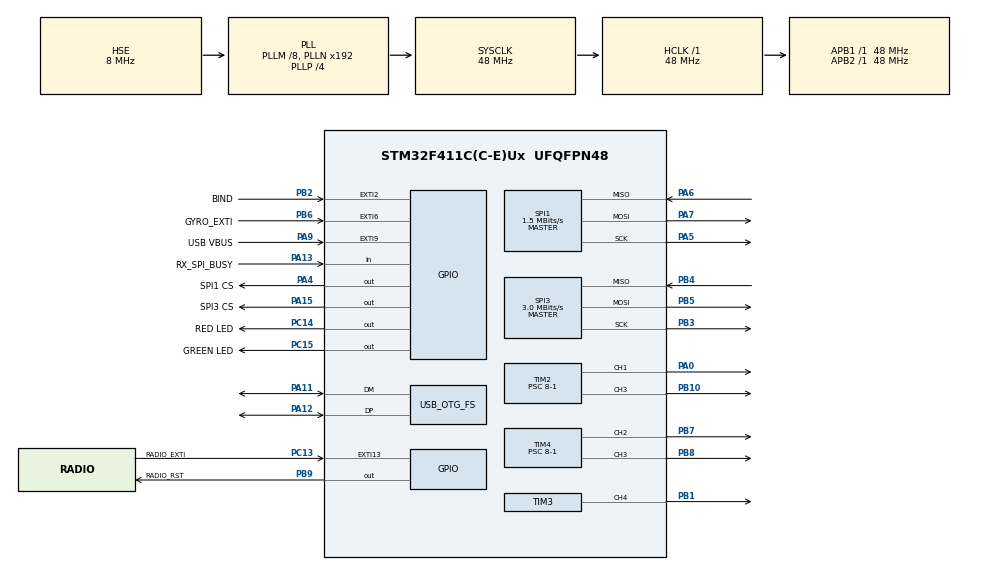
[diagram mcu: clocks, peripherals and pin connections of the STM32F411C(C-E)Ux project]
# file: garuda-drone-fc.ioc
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Dma.Request0=TIM2_CH1
Dma.Request1=TIM2_CH3/UP
Dma.Request2=TIM4_CH2
Dma.Request3=TIM4_CH3
Dma.Request4=SPI1_RX
Dma.Request5=SPI1_TX
Dma.SPI1_RX.4.Direction=DMA_PERIPH_TO_MEMORY
Dma.SPI1_RX.4.FIFOMode=DMA_FIFOMODE_DISABLE
Dma.SPI1_RX.4.Instance=DMA2_Stream0
Dma.SPI1_RX.4.MemDataAlignment=DMA_MDATAALIGN_BYTE
Dma.SPI1_RX.4.MemInc=DMA_MINC_ENABLE
Dma.SPI1_RX.4.Mode=DMA_NORMAL
Dma.SPI1_RX.4.PeriphDataAlignment=DMA_PDATAALIGN_BYTE
Dma.SPI1_RX.4.PeriphInc=DMA_PINC_DISABLE
Dma.SPI1_RX.4.Priority=DMA_PRIORITY_HIGH
Dma.SPI1_TX.5.Direction=DMA_MEMORY_TO_PERIPH
Dma.SPI1_TX.5.FIFOMode=DMA_FIFOMODE_DISABLE
Dma.SPI1_TX.5.Instance=DMA2_Stream2
Dma.SPI1_TX.5.MemDataAlignment=DMA_MDATAALIGN_BYTE
Dma.SPI1_TX.5.MemInc=DMA_MINC_ENABLE
Dma.SPI1_TX.5.Mode=DMA_NORMAL
Dma.SPI1_TX.5.PeriphDataAlignment=DMA_PDATAALIGN_BYTE
Dma.SPI1_TX.5.PeriphInc=DMA_PINC_DISABLE
Dma.SPI1_TX.5.Priority=DMA_PRIORITY_HIGH
Dma.TIM2_CH1.0.Direction=DMA_MEMORY_TO_PERIPH
Dma.TIM2_CH1.0.FIFOMode=DMA_FIFOMODE_DISABLE
Dma.TIM2_CH1.0.Instance=DMA1_Stream5
Dma.TIM2_CH1.0.MemDataAlignment=DMA_MDATAALIGN_WORD
Dma.TIM2_CH1.0.MemInc=DMA_MINC_ENABLE
Dma.TIM2_CH1.0.Mode=DMA_NORMAL
Dma.TIM2_CH1.0.PeriphDataAlignment=DMA_PDATAALIGN_WORD
Dma.TIM2_CH1.0.PeriphInc=DMA_PINC_DISABLE
Dma.TIM2_CH1.0.Priority=DMA_PRIORITY_LOW
Dma.TIM2_CH3/UP.1.Direction=DMA_MEMORY_TO_PERIPH
Dma.TIM2_CH3/UP.1.FIFOMode=DMA_FIFOMODE_DISABLE
Dma.TIM2_CH3/UP.1.Instance=DMA1_Stream1
Dma.TIM2_CH3/UP.1.MemDataAlignment=DMA_MDATAALIGN_WORD
Dma.TIM2_CH3/UP.1.MemInc=DMA_MINC_ENABLE
Dma.TIM2_CH3/UP.1.Mode=DMA_NORMAL
Dma.TIM2_CH3/UP.1.PeriphDataAlignment=DMA_PDATAALIGN_WORD
Dma.TIM2_CH3/UP.1.PeriphInc=DMA_PINC_DISABLE
Dma.TIM2_CH3/UP.1.Priority=DMA_PRIORITY_LOW
Dma.TIM4_CH2.2.Direction=DMA_MEMORY_TO_PERIPH
Dma.TIM4_CH2.2.FIFOMode=DMA_FIFOMODE_DISABLE
Dma.TIM4_CH2.2.Instance=DMA1_Stream3
Dma.TIM4_CH2.2.MemDataAlignment=DMA_MDATAALIGN_WORD
Dma.TIM4_CH2.2.MemInc=DMA_MINC_ENABLE
Dma.TIM4_CH2.2.Mode=DMA_NORMAL
Dma.TIM4_CH2.2.PeriphDataAlignment=DMA_PDATAALIGN_WORD
Dma.TIM4_CH2.2.PeriphInc=DMA_PINC_DISABLE
Dma.TIM4_CH2.2.Priority=DMA_PRIORITY_LOW
Dma.TIM4_CH3.3.Direction=DMA_MEMORY_TO_PERIPH
Dma.TIM4_CH3.3.FIFOMode=DMA_FIFOMODE_DISABLE
Dma.TIM4_CH3.3.Instance=DMA1_Stream7
Dma.TIM4_CH3.3.MemDataAlignment=DMA_MDATAALIGN_WORD
Dma.TIM4_CH3.3.MemInc=DMA_MINC_ENABLE
Dma.TIM4_CH3.3.Mode=DMA_NORMAL
Dma.TIM4_CH3.3.PeriphDataAlignment=DMA_PDATAALIGN_WORD
Dma.TIM4_CH3.3.PeriphInc=DMA_PINC_DISABLE
Dma.TIM4_CH3.3.Priority=DMA_PRIORITY_LOW
Mcu.Family=STM32F4
Mcu.Name=STM32F411C(C-E)Ux
Mcu.Package=UFQFPN48
NVIC.DMA1_Stream1_IRQn=true\:2\:0\:true\:false\:true\:false\:true\:true
NVIC.DMA1_Stream3_IRQn=true\:2\:0\:true\:false\:true\:false\:true\:true
NVIC.DMA1_Stream5_IRQn=true\:2\:0\:true\:false\:true\:false\:true\:true
NVIC.DMA1_Stream7_IRQn=true\:2\:0\:true\:false\:true\:false\:true\:true
NVIC.DMA2_Stream0_IRQn=true\:1\:0\:true\:false\:true\:false\:true\:true
NVIC.DMA2_Stream2_IRQn=true\:1\:0\:true\:false\:true\:false\:true\:true
NVIC.EXTI15_10_IRQn=true\:0\:0\:true\:false\:true\:true\:true\:true
NVIC.EXTI2_IRQn=true\:4\:0\:true\:false\:true\:true\:true\:true
NVIC.OTG_FS_IRQn=true\:2\:0\:true\:false\:true\:false\:true\:true
NVIC.PriorityGroup=NVIC_PRIORITYGROUP_4
NVIC.TIM1_BRK_TIM9_IRQn=true\:0\:0\:true\:false\:true\:true\:true\:true
NVIC.TIM1_TRG_COM_TIM11_IRQn=true\:4\:0\:true\:false\:true\:true\:true\:true
NVIC.TIM1_UP_TIM10_IRQn=true\:3\:0\:true\:false\:true\:true\:true\:true
NVIC.TIM3_IRQn=true\:2\:0\:true\:false\:true\:true\:true\:true
NVIC.TIM5_IRQn=true\:1\:0\:true\:false\:true\:true\:true\:true
PA0-WKUP.Signal=S_TIM2_CH1_ETR
PA11.Mode=Device_Only
PA11.Signal=USB_OTG_FS_DM
PA12.Mode=Device_Only
PA12.Signal=USB_OTG_FS_DP
PA13.GPIO_Label=RX_SPI_BUSY
PA13.Signal=GPIO_Input
PA15.GPIO_Label=SPI3 CS
PA15.PinState=GPIO_PIN_SET
PA15.Signal=GPIO_Output
PA4.GPIO_Label=SPI1 CS
PA4.Signal=GPIO_Output
PA5.Mode=Full_Duplex_Master
PA5.Signal=SPI1_SCK
PA6.Mode=Full_Duplex_Master
PA6.Signal=SPI1_MISO
PA7.Mode=Full_Duplex_Master
PA7.Signal=SPI1_MOSI
PA9.GPIO_Label=USB VBUS
PA9.Signal=GPXTI9
PB1.Signal=S_TIM3_CH4
PB10.Signal=S_TIM2_CH3
PB2.GPIO_Label=BIND
PB2.GPIO_ModeDefaultEXTI=GPIO_MODE_IT_FALLING
PB2.Signal=GPXTI2
PB3.Mode=Full_Duplex_Master
PB3.Signal=SPI3_SCK
PB4.Mode=Full_Duplex_Master
PB4.Signal=SPI3_MISO
PB5.Mode=Full_Duplex_Master
PB5.Signal=SPI3_MOSI
PB6.GPIO_Label=GYRO_EXTI
PB6.Signal=GPXTI6
PB7.Signal=S_TIM4_CH2
PB8.Signal=S_TIM4_CH3
PB9.GPIO_Label=RADIO_RST
PB9.PinState=GPIO_PIN_SET
PB9.Signal=GPIO_Output
PC13-ANTI_TAMP.GPIO_Label=RADIO_EXTI
PC13-ANTI_TAMP.Signal=GPXTI13
PC14-OSC32_IN.GPIO_Label=RED LED
PC14-OSC32_IN.Signal=GPIO_Output
PC15-OSC32_OUT.GPIO_Label=GREEN LED
PC15-OSC32_OUT.Signal=GPIO_Output
PH0\ -\ OSC_IN.Mode=HSE-External-Oscillator
PH0\ -\ OSC_IN.Signal=RCC_OSC_IN
PH1\ -\ OSC_OUT.Mode=HSE-External-Oscillator
PH1\ -\ OSC_OUT.Signal=RCC_OSC_OUT
ProjectManager.HeapSize=0x200
ProjectManager.StackSize=0x400
ProjectManager.TargetToolchain=STM32CubeIDE
RCC.48MHZClocksFreq_Value=48000000
RCC.AHBFreq_Value=48000000
RCC.APB1Freq_Value=48000000
RCC.APB1TimFreq_Value=48000000
RCC.APB2Freq_Value=48000000
RCC.APB2TimFreq_Value=48000000
RCC.CortexFreq_Value=48000000
RCC.HCLKFreq_Value=48000000
RCC.HSE_VALUE=8000000
RCC.HSI_VALUE=16000000
RCC.LSE_VALUE=32768
RCC.PLLM=8
RCC.PLLP=RCC_PLLP_DIV4
RCC.SYSCLKFreq_VALUE=48000000
RCC.SYSCLKSource=RCC_SYSCLKSOURCE_PLLCLK
RCC.VCOOutputFreq_Value=192000000
SH.S_TIM2_CH1_ETR.0=TIM2_CH1,PWM Generation1 CH1
SH.S_TIM2_CH3.0=TIM2_CH3,PWM Generation3 CH3
SH.S_TIM3_CH4.0=TIM3_CH4,PWM Generation4 CH4
SH.S_TIM4_CH2.0=TIM4_CH2,PWM Generation2 CH2
SH.S_TIM4_CH3.0=TIM4_CH3,PWM Generation3 CH3
SPI1.BaudRatePrescaler=SPI_BAUDRATEPRESCALER_32
SPI1.CalculateBaudRate=1.5 MBits/s
SPI1.DataSize=SPI_DATASIZE_8BIT
SPI1.Direction=SPI_DIRECTION_2LINES
SPI1.FirstBit=SPI_FIRSTBIT_MSB
SPI1.Mode=SPI_MODE_MASTER
SPI1.VirtualType=VM_MASTER
SPI3.BaudRatePrescaler=SPI_BAUDRATEPRESCALER_16
SPI3.CalculateBaudRate=3.0 MBits/s
SPI3.Direction=SPI_DIRECTION_2LINES
SPI3.Mode=SPI_MODE_MASTER
SPI3.VirtualType=VM_MASTER
STMicroelectronics.X-CUBE-ALGOBUILD.1.4.0.LibraryCcDSPOoLibraryJjDSPOoLibrary=true
TIM10.AutoReloadPreload=TIM_AUTORELOAD_PRELOAD_ENABLE
TIM10.Period=9
TIM10.Prescaler=9599
TIM11.AutoReloadPreload=TIM_AUTORELOAD_PRELOAD_ENABLE
TIM11.Period=9
TIM11.Prescaler=9599
TIM2.AutoReloadPreload=TIM_AUTORELOAD_PRELOAD_ENABLE
TIM2.Channel-PWM\ Generation1\ CH1=TIM_CHANNEL_1
TIM2.Channel-PWM\ Generation3\ CH3=TIM_CHANNEL_3
TIM2.Period=20-1
TIM2.Prescaler=8-1
TIM3.AutoReloadPreload=TIM_AUTORELOAD_PRELOAD_ENABLE
TIM3.Channel-PWM\ Generation4\ CH4=TIM_CHANNEL_4
TIM3.Period=999
TIM3.Prescaler=47999
TIM4.AutoReloadPreload=TIM_AUTORELOAD_PRELOAD_ENABLE
TIM4.Channel-PWM\ Generation2\ CH2=TIM_CHANNEL_2
TIM4.Channel-PWM\ Generation3\ CH3=TIM_CHANNEL_3
TIM4.Period=20-1
TIM4.Prescaler=8-1
TIM5.AutoReloadPreload=TIM_AUTORELOAD_PRELOAD_ENABLE
TIM5.Period=1
TIM5.Prescaler=5999
TIM5.TIM_MasterOutputTrigger=TIM_TRGO_UPDATE
TIM9.AutoReloadPreload=TIM_AUTORELOAD_PRELOAD_ENABLE
TIM9.Period=6665
TIM9.Prescaler=47
USB_DEVICE.CLASS_NAME_FS=CDC
USB_DEVICE.VirtualMode=Cdc
USB_DEVICE.VirtualModeFS=Cdc_FS
USB_OTG_FS.VirtualMode=Device_Only
VP_STMicroelectronics.X-CUBE-ALGOBUILD_VS_DSPOoLibraryJjLibrary_1.4.0_1.4.0.Mode=DSPOoLibraryJjLibrary
VP_TIM10_VS_ClockSourceINT.Mode=Enable_Timer
VP_TIM11_VS_ClockSourceINT.Mode=Enable_Timer
VP_TIM2_VS_ClockSourceINT.Mode=Internal
VP_TIM3_VS_ClockSourceINT.Mode=Internal
VP_TIM4_VS_ClockSourceINT.Mode=Internal
VP_TIM5_VS_ClockSourceINT.Mode=Internal
VP_TIM9_VS_ClockSourceINT.Mode=Internal
VP_USB_DEVICE_VS_USB_DEVICE_CDC_FS.Mode=CDC_FS
board=custom

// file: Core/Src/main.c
/* USER CODE BEGIN Header */
/**
  ******************************************************************************
  * @file           : main.c
  * @brief          : Main program body
  ******************************************************************************
  * @attention
  *
  * Copyright (c) 2024 STMicroelectronics.
  * All rights reserved.
  *
  * This software is licensed under terms that can be found in the LICENSE file
  * in the root directory of this software component.
  * If no LICENSE file comes with this software, it is provided AS-IS.
  *
  ******************************************************************************
  */
/* USER CODE END Header */
#include "main.h"
#include "dma.h"
#include "spi.h"
#include "tim.h"
#include "usb_device.h"
#include "gpio.h"

/* USER CODE BEGIN Includes */
#include "imu.h"
#include "expresslrs.h"
#include "esc.h"
#include "kalman.h"
#include "button_handler.h"
#include "com_debugging.h"
#include "control.h"
/* USER CODE END Includes */

void SystemClock_Config(void);

/* USER CODE BEGIN 0 */

// pass through buffers for sending data between peripherals
uint8_t radio_dma_buffer[8] = {0x00};

uint16_t rc_data[8] = {0,0,0,0,0,0,0,0};

uint16_t mot_buf[4] = {0};

uint32_t last_kalman_tick = 0;

void HAL_TIM_PeriodElapsedCallback(TIM_HandleTypeDef *htim)
{
	if (htim == htim_esc_kalman) {
		if(!motors_armed){
			arm_ESC();
		}else{
			float32_t currTick = micros();
			  float32_t deltTime = (float32_t)(getDeltaTime(currTick, last_kalman_tick)) * 0.000001;
			  last_kalman_tick = currTick;
			  updateKalman(gyro, accel, deltTime);
			  controlsOuterUpdate(estimate, accel);
		}
	  }else if(htim == htim_elrs){
		  // keep the internal clock in phase
		  setLastClockTime(micros());
		  clockPhaseUpdate(0);
		  doFhssIrq();
	  }else if(htim == htim_control_loop){
		  if(bmi270_ready && kalman_initialized && !isDisconnected()){
			  // fast loop, gets inputs and does rate control
			  //TODO: inputs do not have to be here
			  expressLrsSetRcDataFromPayload(rc_data);
			  controlsInnerLoop(rc_data, mot_buf, gyro, accel, estimate);
			  set_esc_outputs(mot_buf);
		  }
	  }else if(htim == htim_imu){
		  if(bmi270_ready && kalman_initialized){
			  readIMUData();
		  }
	  }else if(htim == htim_debug_loop){
		  if(bmi270_ready && kalman_initialized){
				if(!isBindingMode()){
					HAL_GPIO_TogglePin(GPIOC, GPIO_PIN_15);
				}
				HAL_GPIO_TogglePin(GPIOC, GPIO_PIN_14);
		  }

	  }
}

void HAL_GPIO_EXTI_Callback(uint16_t GPIO_Pin)
{
   if (GPIO_Pin == GPIO_PIN_13) {
	  // process radio packet on interrupt
	  setLastPacketTime(micros());
	  sx1280_read_interrupt(radio_dma_buffer);
	  processRFPacket((uint8_t *)radio_dma_buffer, micros());
  } else if(GPIO_Pin == GPIO_PIN_2){
	  // add erase flash sector functionality on multiple presses as well as clearing bind mode
	  char* data4 = "BUTTON PRESS\n";
	  CDC_Transmit_FS((uint8_t *)data4, strlen(data4));
	  processButtonPress(micros());
  } else {
      __NOP();
  }
}

/* USER CODE END 0 */

int main(void)
{

  /* MCU Configuration--------------------------------------------------------*/

  /* Reset of all peripherals, Initializes the Flash interface and the Systick. */
  HAL_Init();

  /* Configure the system clock */
  SystemClock_Config();

  /* Initialize all configured peripherals */
  MX_GPIO_Init();
  MX_DMA_Init();
  MX_TIM4_Init();
  MX_TIM2_Init();
  MX_TIM3_Init();
  MX_TIM5_Init();
  MX_USB_DEVICE_Init();
  MX_SPI1_Init();
  MX_SPI3_Init();
  MX_TIM9_Init();
  MX_TIM10_Init();
  MX_TIM11_Init();
  /* USER CODE BEGIN 2 */
  HAL_TIM_Base_Start_IT(htim_debug_loop); // debug loop and LEDs

  // initialize peripherals
  init_ESC();
  initExpressLRS();
  IMUInit();
  controlsInit();
  quaternion_t initEst = {1.0, {0.0, 0.0, 0.0}};
  last_kalman_tick = micros();
  initKalman(initEst, ESTIMATE_COV, GYRO_COV, GYRO_BIAS_COV, ACCEL_PROC_COV, ACCEL_BIAS_COV, ACCEL_OBS_COV);

  // start the microsecond clock
  CoreDebug->DEMCR |= CoreDebug_DEMCR_TRCENA_Msk;
  DWT->CTRL |= 1;
  DWT->CYCCNT = 0;
  /* USER CODE END 2 */

  /* Infinite loop */
  while (1)
  {

  }
}

void SystemClock_Config(void)
{
  RCC_OscInitTypeDef RCC_OscInitStruct = {0};
  RCC_ClkInitTypeDef RCC_ClkInitStruct = {0};

  /** Configure the main internal regulator output voltage
  */
  __HAL_RCC_PWR_CLK_ENABLE();
  __HAL_PWR_VOLTAGESCALING_CONFIG(PWR_REGULATOR_VOLTAGE_SCALE1);

  /** Initializes the RCC Oscillators according to the specified parameters
  * in the RCC_OscInitTypeDef structure.
  */
  RCC_OscInitStruct.OscillatorType = RCC_OSCILLATORTYPE_HSE;
  RCC_OscInitStruct.HSEState = RCC_HSE_ON;
  RCC_OscInitStruct.PLL.PLLState = RCC_PLL_ON;
  RCC_OscInitStruct.PLL.PLLSource = RCC_PLLSOURCE_HSE;
  RCC_OscInitStruct.PLL.PLLM = 8;
  RCC_OscInitStruct.PLL.PLLN = 192;
  RCC_OscInitStruct.PLL.PLLP = RCC_PLLP_DIV4;
  RCC_OscInitStruct.PLL.PLLQ = 4;
  if (HAL_RCC_OscConfig(&RCC_OscInitStruct) != HAL_OK)
  {
    Error_Handler();
  }

  /** Initializes the CPU, AHB and APB buses clocks
  */
  RCC_ClkInitStruct.ClockType = RCC_CLOCKTYPE_HCLK|RCC_CLOCKTYPE_SYSCLK
                              |RCC_CLOCKTYPE_PCLK1|RCC_CLOCKTYPE_PCLK2;
  RCC_ClkInitStruct.SYSCLKSource = RCC_SYSCLKSOURCE_PLLCLK;
  RCC_ClkInitStruct.AHBCLKDivider = RCC_SYSCLK_DIV1;
  RCC_ClkInitStruct.APB1CLKDivider = RCC_HCLK_DIV1;
  RCC_ClkInitStruct.APB2CLKDivider = RCC_HCLK_DIV1;

  if (HAL_RCC_ClockConfig(&RCC_ClkInitStruct, FLASH_LATENCY_1) != HAL_OK)
  {
    Error_Handler();
  }
}

/* USER CODE BEGIN 4 */
uint32_t micros()
{
	return (DWT->CYCCNT/48);
}

uint32_t getDeltaTime(uint32_t greater, uint32_t lesser)
{
	if(greater < lesser){
		greater += (0xFFFFFFFF/48);
	}
	return greater - lesser;
}
/* USER CODE END 4 */

void Error_Handler(void)
{
  __disable_irq();
  while (1)
  {
  }
}
